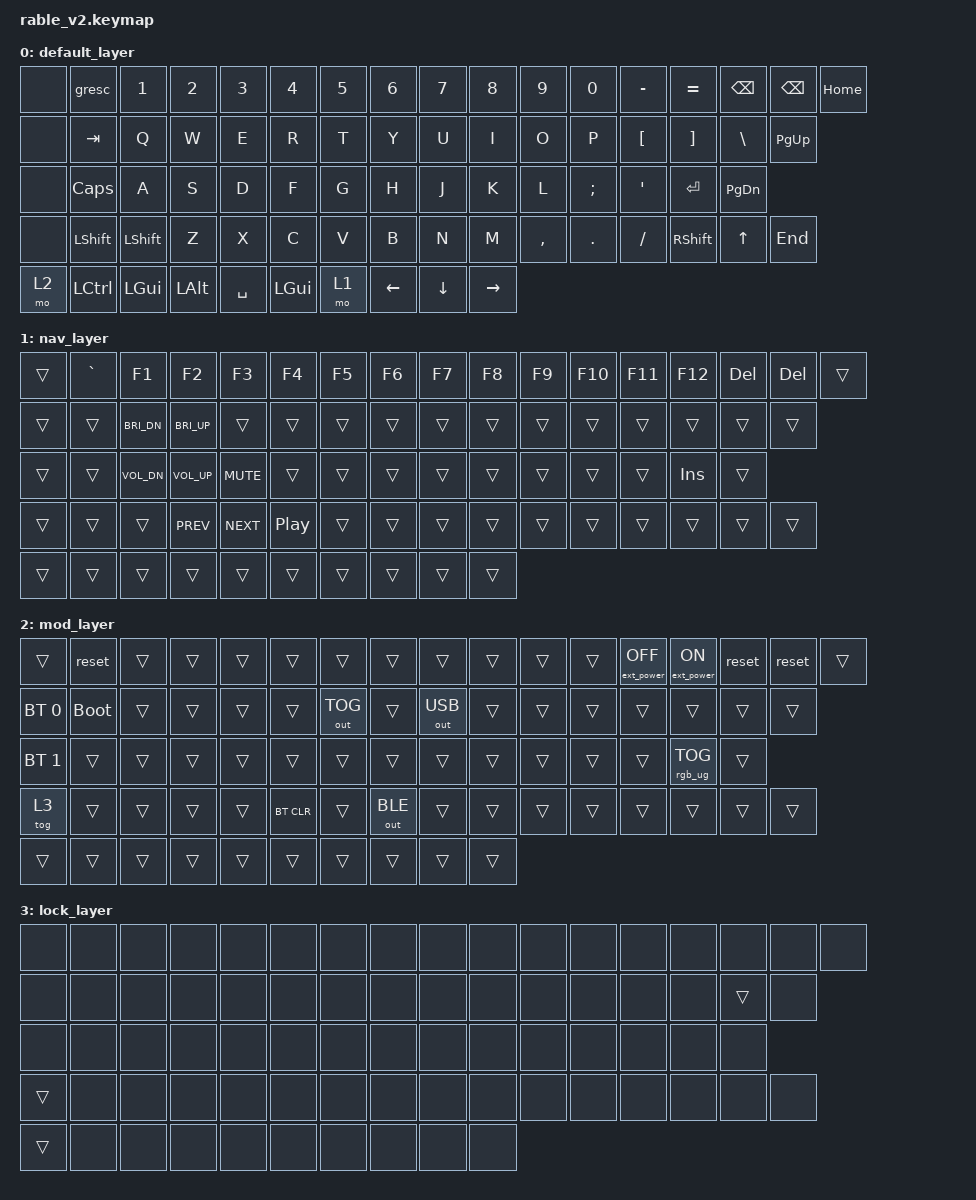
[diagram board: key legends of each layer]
/*
 * Copyright (c) 2021 Nick Winans
 *
 * SPDX-License-Identifier: MIT
 */

#include <behaviors.dtsi>
#include <dt-bindings/zmk/keys.h>
#include <dt-bindings/zmk/ext_power.h>
#include <dt-bindings/zmk/bt.h>
#include <dt-bindings/zmk/outputs.h>
#include <dt-bindings/zmk/rgb.h>

/ {
    keymap {
        compatible = "zmk,keymap";

        default_layer {
            bindings = <
&none     &gresc     &kp N1    &kp N2     &kp N3    &kp N4  &kp N5    &kp N6    &kp N7     &kp N8     &kp N9    &kp N0  &kp MINUS  &kp EQUAL  &kp BACKSPACE  &kp BACKSPACE  &kp HOME
&none    &kp TAB      &kp Q     &kp W      &kp E     &kp R   &kp T     &kp Y     &kp U      &kp I      &kp O     &kp P   &kp LBKT   &kp RBKT  &kp BACKSLASH      &kp PG_UP
&none   &kp CLCK      &kp A     &kp S      &kp D     &kp F   &kp G     &kp H     &kp J      &kp K      &kp L  &kp SEMI    &kp SQT    &kp RET      &kp PG_DN
&none  &kp LSHFT  &kp LSHFT     &kp Z      &kp X     &kp C   &kp V     &kp B     &kp N      &kp M  &kp COMMA   &kp DOT   &kp FSLH  &kp RSHFT         &kp UP        &kp END
&mo 2  &kp LCTRL   &kp LGUI  &kp LALT  &kp SPACE  &kp LGUI   &mo 1  &kp LEFT  &kp DOWN  &kp RIGHT
            >;
        };

        nav_layer {
            bindings = <
&trans  &kp GRAVE        &kp F1        &kp F2      &kp F3            &kp F4  &kp F5  &kp F6  &kp F7  &kp F8  &kp F9  &kp F10  &kp F11  &kp F12  &kp DELETE  &kp DEL  &trans
&trans     &trans  &kp C_BRI_DN  &kp C_BRI_UP      &trans            &trans  &trans  &trans  &trans  &trans  &trans   &trans   &trans   &trans      &trans   &trans
&trans     &trans  &kp C_VOL_DN  &kp C_VOL_UP  &kp C_MUTE            &trans  &trans  &trans  &trans  &trans  &trans   &trans   &trans  &kp INS      &trans
&trans     &trans        &trans    &kp C_PREV  &kp C_NEXT  &kp C_PLAY_PAUSE  &trans  &trans  &trans  &trans  &trans   &trans   &trans   &trans      &trans   &trans
&trans     &trans        &trans        &trans      &trans            &trans  &trans  &trans  &trans  &trans
            >;
        };

        mod_layer {
            bindings = <
      &trans       &reset  &trans  &trans  &trans      &trans        &trans        &trans        &trans  &trans  &trans  &trans  &ext_power EP_OFF  &ext_power EP_ON  &reset  &reset  &trans
&bt BT_SEL 0  &bootloader  &trans  &trans  &trans      &trans  &out OUT_TOG        &trans  &out OUT_USB  &trans  &trans  &trans             &trans            &trans  &trans  &trans
&bt BT_SEL 1       &trans  &trans  &trans  &trans      &trans        &trans        &trans        &trans  &trans  &trans  &trans             &trans   &rgb_ug RGB_TOG  &trans
      &tog 3       &trans  &trans  &trans  &trans  &bt BT_CLR        &trans  &out OUT_BLE        &trans  &trans  &trans  &trans             &trans            &trans  &trans  &trans
      &trans       &trans  &trans  &trans  &trans      &trans        &trans        &trans        &trans  &trans
            >;
        };

        lock_layer {
            bindings = <
 &none  &none  &none  &none  &none  &none  &none  &none  &none  &none  &none  &none  &none  &none   &none  &none  &none
 &none  &none  &none  &none  &none  &none  &none  &none  &none  &none  &none  &none  &none  &none  &trans  &none
 &none  &none  &none  &none  &none  &none  &none  &none  &none  &none  &none  &none  &none  &none   &none
&trans  &none  &none  &none  &none  &none  &none  &none  &none  &none  &none  &none  &none  &none   &none  &none
&trans  &none  &none  &none  &none  &none  &none  &none  &none  &none
            >;
        };
    };
};
